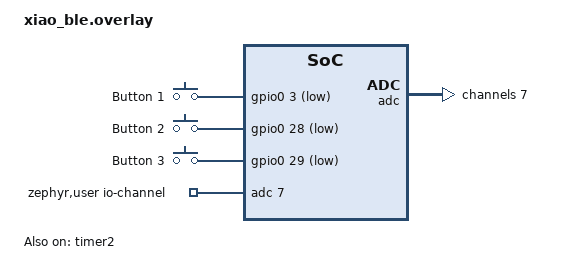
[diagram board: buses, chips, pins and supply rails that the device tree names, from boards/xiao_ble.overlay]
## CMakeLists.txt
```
cmake_minimum_required(VERSION 3.20.0)

find_package(Zephyr REQUIRED HINTS $ENV{ZEPHYR_BASE})
project(xiao_zigbee_button)

target_sources(app PRIVATE
    src/main.c
    src/buttons.c
    src/battery.c
    src/zigbee_actions.c
)
target_include_directories(app PRIVATE include)
```

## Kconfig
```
mainmenu "XIAO Zigbee Button"

config XIAO_ZIGBEE_DEBUG_LOGGING
	bool "Enable verbose application logging"
	default n
	help
		Enable UART console logging and verbose application logs for development.
		Leave disabled for production builds to reduce power consumption.

config XIAO_ZIGBEE_THREE_BUTTON
	bool "Build three-button firmware"
	default n
	help
		Build the D1/D2/D3 three-button variant with Zigbee endpoints 10,
		11, and 12. Leave disabled for the single-button variant, which
		uses endpoint 10 and model ID XIAO-Zigbee-Button.

source "Kconfig.zephyr"
```

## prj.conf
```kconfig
# Base configuration for the NCS 2.6.0 Zigbee button application.
CONFIG_NCS_SAMPLES_DEFAULTS=y
CONFIG_UART_INTERRUPT_DRIVEN=n
CONFIG_SERIAL=n
CONFIG_GPIO=y
CONFIG_ADC=y
CONFIG_CONSOLE=n
CONFIG_UART_CONSOLE=n
CONFIG_HEAP_MEM_POOL_SIZE=2048

CONFIG_ZIGBEE=y
CONFIG_ZIGBEE_APP_UTILS=y
CONFIG_ZIGBEE_ROLE_END_DEVICE=y
# Scan all Zigbee channels when joining a third-party coordinator such as Z2M.
CONFIG_ZIGBEE_CHANNEL_SELECTION_MODE_MULTI=y
CONFIG_DK_LIBRARY=y
CONFIG_SYSTEM_WORKQUEUE_STACK_SIZE=2048
CONFIG_RAM_POWER_DOWN_LIBRARY=y

CONFIG_NET_IPV6=n
CONFIG_NET_IP_ADDR_CHECK=n
CONFIG_NET_UDP=n

# XIAO nRF52840 Zigbee crypto/radio requirements.
CONFIG_CRYPTO=y
CONFIG_CRYPTO_NRF_ECB=y
CONFIG_CRYPTO_INIT_PRIORITY=80
CONFIG_MPSL=y
```

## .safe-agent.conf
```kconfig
EXTRA_DOCKER_MOUNTS=(
    "/opt/nordic:/opt/nordic:ro"
)
```

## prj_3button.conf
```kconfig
# Three-button production variant. Use BUTTON_VARIANT=3 ./scripts/build.sh
CONFIG_XIAO_ZIGBEE_THREE_BUTTON=y
```

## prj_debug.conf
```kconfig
# Development-only logging overlay. Use:
#   DEBUG_LOGGING=1 ./scripts/build.sh

CONFIG_XIAO_ZIGBEE_DEBUG_LOGGING=y
CONFIG_UART_INTERRUPT_DRIVEN=y
CONFIG_SERIAL=y
CONFIG_CONSOLE=y
CONFIG_UART_CONSOLE=y
```

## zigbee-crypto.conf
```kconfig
CONFIG_CRYPTO=y
CONFIG_CRYPTO_NRF_ECB=y
CONFIG_CRYPTO_INIT_PRIORITY=80
CONFIG_MPSL=y
```

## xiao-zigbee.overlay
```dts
/ {
    chosen {
        ncs,zigbee-timer = &timer2;
    };
};

&timer2 {
    status = "okay";
};
```

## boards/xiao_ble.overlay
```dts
#include <zephyr/dt-bindings/gpio/gpio.h>

/ {
    chosen {
        ncs,zigbee-timer = &timer2;
    };

    /* Buttons: XIAO D1/D2/D3, active low to GND. */

    buttons {
        compatible = "gpio-keys";

        button0: button_0 {
            gpios = <&gpio0 3 (GPIO_PULL_UP | GPIO_ACTIVE_LOW)>;
            label = "Button 1";
        };

        button1: button_1 {
            gpios = <&gpio0 28 (GPIO_PULL_UP | GPIO_ACTIVE_LOW)>;
            label = "Button 2";
        };

        button2: button_2 {
            gpios = <&gpio0 29 (GPIO_PULL_UP | GPIO_ACTIVE_LOW)>;
            label = "Button 3";
        };
    };

    aliases {
        sw0 = &button0;
        sw1 = &button1;
        sw2 = &button2;
    };

    zephyr,user {
        io-channels = <&adc 7>;
    };

};

&adc {
    #address-cells = <1>;
    #size-cells = <0>;

    channel@7 {
        reg = <7>;
        zephyr,gain = "ADC_GAIN_1_6";
        zephyr,reference = "ADC_REF_INTERNAL";
        zephyr,acquisition-time = <ADC_ACQ_TIME_DEFAULT>;
        zephyr,input-positive = <NRF_SAADC_AIN7>;
        zephyr,resolution = <12>;
        zephyr,oversampling = <4>;
    };
};

&timer2 {
    status = "okay";
};
```

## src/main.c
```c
#include <zephyr/kernel.h>
#include <zephyr/logging/log.h>
#include <ram_pwrdn.h>

#include <zboss_api.h>
#include <zboss_api_addons.h>
#include <zigbee/zigbee_app_utils.h>
#include <zigbee/zigbee_error_handler.h>
#include <zb_nrf_platform.h>

#include "buttons.h"
#include "battery.h"
#include "zb_button_remote.h"
#include "zb_mem_config_custom.h"
#include "zigbee_actions.h"
#include "app_logging.h"

#define ERASE_PERSISTENT_CONFIG ZB_FALSE
#define ZIGBEE_LONG_POLL_INTERVAL_MS (15U * 60U * 1000U)

LOG_MODULE_REGISTER(app, XIAO_ZIGBEE_LOG_LEVEL);

struct zb_device_ctx {
	zb_zcl_basic_attrs_ext_t basic_attr;
	zb_zcl_identify_attrs_t identify_attr;
};

static struct zb_device_ctx dev_ctx;
static zb_bool_t device_enable_basic_server_attr_list = ZB_TRUE;

ZB_ZCL_START_DECLARE_ATTRIB_LIST_CLUSTER_REVISION(
	basic_server_attr_list, ZB_ZCL_BASIC)
ZB_ZCL_SET_ATTR_DESC(ZB_ZCL_ATTR_BASIC_ZCL_VERSION_ID,
	&dev_ctx.basic_attr.zcl_version)
ZB_ZCL_SET_ATTR_DESC(ZB_ZCL_ATTR_BASIC_APPLICATION_VERSION_ID,
	&dev_ctx.basic_attr.app_version)
ZB_ZCL_SET_ATTR_DESC(ZB_ZCL_ATTR_BASIC_STACK_VERSION_ID,
	&dev_ctx.basic_attr.stack_version)
ZB_ZCL_SET_ATTR_DESC(ZB_ZCL_ATTR_BASIC_HW_VERSION_ID,
	&dev_ctx.basic_attr.hw_version)
ZB_ZCL_SET_ATTR_DESC(ZB_ZCL_ATTR_BASIC_MANUFACTURER_NAME_ID,
	dev_ctx.basic_attr.mf_name)
ZB_ZCL_SET_ATTR_DESC(ZB_ZCL_ATTR_BASIC_MODEL_IDENTIFIER_ID,
	dev_ctx.basic_attr.model_id)
ZB_ZCL_SET_ATTR_DESC(ZB_ZCL_ATTR_BASIC_DATE_CODE_ID,
	dev_ctx.basic_attr.date_code)
ZB_ZCL_SET_ATTR_DESC(ZB_ZCL_ATTR_BASIC_POWER_SOURCE_ID,
	&dev_ctx.basic_attr.power_source)
ZB_ZCL_SET_ATTR_DESC(ZB_ZCL_ATTR_BASIC_SW_BUILD_ID,
	dev_ctx.basic_attr.sw_ver)
ZB_ZCL_SET_ATTR_DESC(ZB_ZCL_ATTR_BASIC_DEVICE_ENABLED_ID,
	&device_enable_basic_server_attr_list)
ZB_ZCL_SET_ATTR_DESC(ZB_ZCL_ATTR_BASIC_LOCATION_DESCRIPTION_ID,
	dev_ctx.basic_attr.location_id)
ZB_ZCL_SET_ATTR_DESC(ZB_ZCL_ATTR_BASIC_PHYSICAL_ENVIRONMENT_ID,
	&dev_ctx.basic_attr.ph_env)
{
	BUTTON_REMOTE_EXACT_VOLTAGE_ATTR_ID,
	ZB_ZCL_ATTR_TYPE_U16,
	ZB_ZCL_ATTR_ACCESS_READ_ONLY | ZB_ZCL_ATTR_ACCESS_REPORTING,
	ZB_ZCL_NON_MANUFACTURER_SPECIFIC,
	(void *)&battery_voltage_exact_attr
},
ZB_ZCL_FINISH_DECLARE_ATTRIB_LIST;

ZB_ZCL_DECLARE_IDENTIFY_SERVER_ATTRIB_LIST(
	identify_server_attr_list,
	&dev_ctx.identify_attr.identify_time);

ZB_DECLARE_BUTTON_REMOTE_CLUSTER_LIST(
	button_remote_clusters,
	basic_server_attr_list,
	identify_server_attr_list,
	battery_power_config_attr_list);

static zb_zcl_reporting_info_t button_remote_reporting_info[
	BUTTON_REMOTE_REPORTING_SLOT_COUNT];

ZB_DECLARE_BUTTON_REMOTE_EP(button_remote_ep, button_remote_clusters);
#if CONFIG_XIAO_ZIGBEE_THREE_BUTTON
ZB_DECLARE_BUTTON_REMOTE_BUTTON_CLUSTER_LIST(
	button_remote_button_clusters,
	basic_server_attr_list,
	identify_server_attr_list,
	battery_power_config_attr_list);
ZB_DECLARE_BUTTON_REMOTE_BUTTON_EP(button_remote_ep_2,
	BUTTON_REMOTE_BUTTON_2_ENDPOINT, button_remote_button_clusters);
ZB_DECLARE_BUTTON_REMOTE_BUTTON_EP(button_remote_ep_3,
	BUTTON_REMOTE_BUTTON_3_ENDPOINT, button_remote_button_clusters);
ZBOSS_DECLARE_DEVICE_CTX_3_EP(button_remote_ctx, button_remote_ep,
	button_remote_ep_2, button_remote_ep_3);
#else
ZBOSS_DECLARE_DEVICE_CTX_1_EP(button_remote_ctx, button_remote_ep);
#endif

static void app_clusters_attr_init(void)
{
	dev_ctx.basic_attr.zcl_version = ZB_ZCL_VERSION;
	dev_ctx.basic_attr.app_version = 1;
	dev_ctx.basic_attr.stack_version = 1;
	dev_ctx.basic_attr.hw_version = 1;
	dev_ctx.basic_attr.date_code[0] = 0;
	dev_ctx.basic_attr.location_id[0] = 0;
	ZB_ZCL_SET_STRING_VAL(dev_ctx.basic_attr.mf_name,
		"Broskie Applications", ZB_ZCL_STRING_CONST_SIZE("Broskie Applications"));
#if CONFIG_XIAO_ZIGBEE_THREE_BUTTON
	ZB_ZCL_SET_STRING_VAL(dev_ctx.basic_attr.model_id,
		"XIAO-Zigbee-3Button",
		ZB_ZCL_STRING_CONST_SIZE("XIAO-Zigbee-3Button"));
#else
	ZB_ZCL_SET_STRING_VAL(dev_ctx.basic_attr.model_id,
		"XIAO-Zigbee-Button",
		ZB_ZCL_STRING_CONST_SIZE("XIAO-Zigbee-Button"));
#endif
	ZB_ZCL_SET_STRING_VAL(dev_ctx.basic_attr.sw_ver,
		"1", ZB_ZCL_STRING_CONST_SIZE("1"));
	dev_ctx.basic_attr.power_source = ZB_ZCL_BASIC_POWER_SOURCE_BATTERY;
	dev_ctx.identify_attr.identify_time =
		ZB_ZCL_IDENTIFY_IDENTIFY_TIME_DEFAULT_VALUE;
}

void zboss_signal_handler(zb_bufid_t bufid)
{
	zb_zdo_app_signal_hdr_t *sig_hndler = NULL;
	zb_zdo_app_signal_type_t sig = zb_get_app_signal(bufid, &sig_hndler);
	zb_ret_t status = ZB_GET_APP_SIGNAL_STATUS(bufid);

	if ((sig == ZB_BDB_SIGNAL_DEVICE_REBOOT || sig == ZB_BDB_SIGNAL_STEERING) &&
	    status == RET_OK) {
		LOG_INF("Zigbee joined; starting battery measurement");
		/* Reduce idle polling while retaining responsive button wake-up. */
		zb_zdo_pim_set_long_poll_interval(ZIGBEE_LONG_POLL_INTERVAL_MS);
		battery_start();
	}

	ZB_ERROR_CHECK(zigbee_default_signal_handler(bufid));

	if (bufid) {
		zb_buf_free(bufid);
	}
}

int main(void)
{
	int err;

	LOG_INF("Starting XIAO Zigbee button");

	err = buttons_init(zigbee_actions_handle);
	if (err) {
		LOG_ERR("Button initialization failed: %d", err);
		return err;
	}

	err = battery_init();
	if (err) {
		LOG_ERR("Battery initialization failed: %d", err);
		return err;
	}

	zigbee_erase_persistent_storage(ERASE_PERSISTENT_CONFIG);
	zb_set_ed_timeout(ED_AGING_TIMEOUT_64MIN);
	zb_set_keepalive_timeout(
		ZB_MILLISECONDS_TO_BEACON_INTERVAL(ZIGBEE_LONG_POLL_INTERVAL_MS));

	ZB_AF_REGISTER_DEVICE_CTX(&button_remote_ctx);
	app_clusters_attr_init();

	/* Operate as a sleepy end device; ZBOSS will sleep when the stack is idle. */
	zigbee_configure_sleepy_behavior(true);

	/* Start the Zigbee thread; commissioning and rejoin are handled by ZBOSS. */
	zigbee_enable();

	if (IS_ENABLED(CONFIG_RAM_POWER_DOWN_LIBRARY)) {
		power_down_unused_ram();
	}

	LOG_INF("XIAO Zigbee button started");
	return 0;
}
```

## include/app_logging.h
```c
#ifndef XIAO_APP_LOGGING_H
#define XIAO_APP_LOGGING_H

#include <zephyr/logging/log.h>

#if defined(CONFIG_XIAO_ZIGBEE_DEBUG_LOGGING) && CONFIG_XIAO_ZIGBEE_DEBUG_LOGGING
#define XIAO_ZIGBEE_LOG_LEVEL LOG_LEVEL_DBG
#else
#define XIAO_ZIGBEE_LOG_LEVEL LOG_LEVEL_NONE
#endif

#endif /* XIAO_APP_LOGGING_H */
```

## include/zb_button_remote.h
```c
#ifndef ZB_BUTTON_REMOTE_H
#define ZB_BUTTON_REMOTE_H

/* Endpoint and command destination used by the current Zigbee2MQTT setup. */
#define BUTTON_REMOTE_ENDPOINT 10
#define BUTTON_REMOTE_BUTTON_2_ENDPOINT 11
#define BUTTON_REMOTE_BUTTON_3_ENDPOINT 12
#define BUTTON_REMOTE_COORDINATOR 0x0000
#define BUTTON_REMOTE_COORDINATOR_ENDPOINT 1
#define BUTTON_REMOTE_EXACT_VOLTAGE_ATTR_ID 0xFF01

#define BUTTON_REMOTE_IN_CLUSTER_NUM 3
#define BUTTON_REMOTE_OUT_CLUSTER_NUM 2
#define BUTTON_REMOTE_POWER_CONFIG_ATTR_COUNT 8
#define BUTTON_REMOTE_REPORTING_SLOT_COUNT 5
#define BUTTON_REMOTE_BUTTON_IN_CLUSTER_NUM 3
#define BUTTON_REMOTE_BUTTON_OUT_CLUSTER_NUM 2

#define ZB_DECLARE_BUTTON_REMOTE_CLUSTER_LIST( \
		cluster_list_name, basic_attr_list, identify_attr_list, power_config_attr_list) \
zb_zcl_cluster_desc_t cluster_list_name[] = { \
	ZB_ZCL_CLUSTER_DESC( \
		ZB_ZCL_CLUSTER_ID_BASIC, \
		ZB_ZCL_ARRAY_SIZE(basic_attr_list, zb_zcl_attr_t), \
		(basic_attr_list), \
		ZB_ZCL_CLUSTER_SERVER_ROLE, \
		ZB_ZCL_MANUF_CODE_INVALID), \
	ZB_ZCL_CLUSTER_DESC( \
		ZB_ZCL_CLUSTER_ID_IDENTIFY, \
		ZB_ZCL_ARRAY_SIZE(identify_attr_list, zb_zcl_attr_t), \
		(identify_attr_list), \
		ZB_ZCL_CLUSTER_SERVER_ROLE, \
		ZB_ZCL_MANUF_CODE_INVALID), \
	ZB_ZCL_CLUSTER_DESC( \
		ZB_ZCL_CLUSTER_ID_POWER_CONFIG, \
		BUTTON_REMOTE_POWER_CONFIG_ATTR_COUNT, \
		(power_config_attr_list), \
		ZB_ZCL_CLUSTER_SERVER_ROLE, \
		ZB_ZCL_MANUF_CODE_INVALID), \
	ZB_ZCL_CLUSTER_DESC( \
		ZB_ZCL_CLUSTER_ID_ON_OFF, \
		0, NULL, \
		ZB_ZCL_CLUSTER_CLIENT_ROLE, \
		ZB_ZCL_MANUF_CODE_INVALID), \
	ZB_ZCL_CLUSTER_DESC( \
		ZB_ZCL_CLUSTER_ID_LEVEL_CONTROL, \
		0, NULL, \
		ZB_ZCL_CLUSTER_CLIENT_ROLE, \
		ZB_ZCL_MANUF_CODE_INVALID) \
}

#define ZB_DECLARE_BUTTON_REMOTE_EP(ep_name, cluster_list) \
	ZB_DECLARE_SIMPLE_DESC(3, 2); \
	ZB_AF_SIMPLE_DESC_TYPE(3, 2) simple_desc_##ep_name = { \
		BUTTON_REMOTE_ENDPOINT, \
		ZB_AF_HA_PROFILE_ID, \
		0x0009, \
		0, \
		0, \
		BUTTON_REMOTE_IN_CLUSTER_NUM, \
		BUTTON_REMOTE_OUT_CLUSTER_NUM, \
		{ ZB_ZCL_CLUSTER_ID_BASIC, ZB_ZCL_CLUSTER_ID_IDENTIFY, \
		  ZB_ZCL_CLUSTER_ID_POWER_CONFIG, \
		  ZB_ZCL_CLUSTER_ID_ON_OFF, ZB_ZCL_CLUSTER_ID_LEVEL_CONTROL } \
	}; \
	ZB_AF_DECLARE_ENDPOINT_DESC(ep_name, BUTTON_REMOTE_ENDPOINT, \
		ZB_AF_HA_PROFILE_ID, 0, NULL, \
		ZB_ZCL_ARRAY_SIZE(cluster_list, zb_zcl_cluster_desc_t), \
		cluster_list, (zb_af_simple_desc_1_1_t *)&simple_desc_##ep_name, \
		BUTTON_REMOTE_REPORTING_SLOT_COUNT, button_remote_reporting_info, \
		0, NULL)

#define ZB_DECLARE_BUTTON_REMOTE_BUTTON_CLUSTER_LIST( \
		cluster_list_name, basic_attr_list, identify_attr_list, power_config_attr_list) \
zb_zcl_cluster_desc_t cluster_list_name[] = { \
	ZB_ZCL_CLUSTER_DESC( \
		ZB_ZCL_CLUSTER_ID_BASIC, \
		ZB_ZCL_ARRAY_SIZE(basic_attr_list, zb_zcl_attr_t), \
		(basic_attr_list), \
		ZB_ZCL_CLUSTER_SERVER_ROLE, \
		ZB_ZCL_MANUF_CODE_INVALID), \
	ZB_ZCL_CLUSTER_DESC( \
		ZB_ZCL_CLUSTER_ID_IDENTIFY, \
		ZB_ZCL_ARRAY_SIZE(identify_attr_list, zb_zcl_attr_t), \
		(identify_attr_list), \
		ZB_ZCL_CLUSTER_SERVER_ROLE, \
		ZB_ZCL_MANUF_CODE_INVALID), \
	ZB_ZCL_CLUSTER_DESC( \
		ZB_ZCL_CLUSTER_ID_POWER_CONFIG, \
		BUTTON_REMOTE_POWER_CONFIG_ATTR_COUNT, \
		(power_config_attr_list), \
		ZB_ZCL_CLUSTER_SERVER_ROLE, \
		ZB_ZCL_MANUF_CODE_INVALID), \
	ZB_ZCL_CLUSTER_DESC( \
		ZB_ZCL_CLUSTER_ID_ON_OFF, \
		0, NULL, \
		ZB_ZCL_CLUSTER_CLIENT_ROLE, \
		ZB_ZCL_MANUF_CODE_INVALID), \
	ZB_ZCL_CLUSTER_DESC( \
		ZB_ZCL_CLUSTER_ID_LEVEL_CONTROL, \
		0, NULL, \
		ZB_ZCL_CLUSTER_CLIENT_ROLE, \
		ZB_ZCL_MANUF_CODE_INVALID) \
}

#define ZB_DECLARE_BUTTON_REMOTE_BUTTON_EP(ep_name, endpoint_id, cluster_list) \
	ZB_AF_SIMPLE_DESC_TYPE(BUTTON_REMOTE_BUTTON_IN_CLUSTER_NUM, \
		BUTTON_REMOTE_BUTTON_OUT_CLUSTER_NUM) simple_desc_##ep_name = { \
		(endpoint_id), \
		ZB_AF_HA_PROFILE_ID, \
		0x0009, \
		0, \
		0, \
		BUTTON_REMOTE_BUTTON_IN_CLUSTER_NUM, \
		BUTTON_REMOTE_BUTTON_OUT_CLUSTER_NUM, \
		{ ZB_ZCL_CLUSTER_ID_BASIC, ZB_ZCL_CLUSTER_ID_IDENTIFY, \
		  ZB_ZCL_CLUSTER_ID_POWER_CONFIG, ZB_ZCL_CLUSTER_ID_ON_OFF, \
		  ZB_ZCL_CLUSTER_ID_LEVEL_CONTROL } \
	}; \
	ZB_AF_DECLARE_ENDPOINT_DESC(ep_name, (endpoint_id), \
		ZB_AF_HA_PROFILE_ID, 0, NULL, \
		ZB_ZCL_ARRAY_SIZE(cluster_list, zb_zcl_cluster_desc_t), \
		(cluster_list), (zb_af_simple_desc_1_1_t *)&simple_desc_##ep_name, \
		0, NULL, 0, NULL)

#endif /* ZB_BUTTON_REMOTE_H */
```

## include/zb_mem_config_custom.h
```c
#ifndef ZB_MEM_CONFIG_CUSTOM_H
#define ZB_MEM_CONFIG_CUSTOM_H 1


#define ZB_CONFIG_ROLE_ZED
#define ZB_CONFIG_OVERALL_NETWORK_SIZE 16

/**
 * Light routing and application traffic from/to that device.
 */
#define ZB_CONFIG_LIGHT_TRAFFIC

/**
 * Simple user's application at that device: not too many relations
 * to other devices.
 */
#define ZB_CONFIG_APPLICATION_SIMPLE

/**
 * The below section is for advanced users.
 * Before modifying any values, please make sure you fully understand the
 * impact, for example by reading zb_mem_config_common.h
 */
#include "zb_mem_config_common.h"

/**
 * Now if you REALLY know what you do, you can study zb_mem_config_common.h
 * and redefine some configuration parameters, like:
 */
#if defined(CONFIG_LIGHT_SWITCH_CONFIGURE_TX_POWER) && \
	defined(CONFIG_ZIGBEE_CHANNEL_SELECTION_MODE_MULTI)
#undef ZB_CONFIG_SCHEDULER_Q_SIZE
#define ZB_CONFIG_SCHEDULER_Q_SIZE 28
#undef ZB_CONFIG_IOBUF_POOL_SIZE
#define ZB_CONFIG_IOBUF_POOL_SIZE 42
#else
#undef ZB_CONFIG_SCHEDULER_Q_SIZE
#define ZB_CONFIG_SCHEDULER_Q_SIZE 24
#endif /* CONFIG_LIGHT_SWITCH_CONFIGURE_TX_POWER && CONFIG_ZIGBEE_CHANNEL_SELECTION_MODE_MULTI */

/**
 * Increase OTA transfer time by extending the APS duplicate rejection table.
 * This value must be less than the amount of possible APS counter values (256).
 */
#undef ZB_CONFIG_APS_DUPS_TABLE_SIZE
#define ZB_CONFIG_APS_DUPS_TABLE_SIZE 64

/* Memory context definitions. */
#include "zb_mem_config_context.h"

#endif /* ZB_MEM_CONFIG_CUSTOM_H */
```

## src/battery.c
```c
#include <errno.h>
#include <stdint.h>

#include <zephyr/devicetree.h>
#include <zephyr/device.h>
#include <zephyr/drivers/adc.h>
#include <zephyr/drivers/gpio.h>
#include <zephyr/kernel.h>
#include <zephyr/logging/log.h>

#include <zboss_api.h>
#include <zboss_api_addons.h>

#include "battery.h"
#include "zb_button_remote.h"
#include "app_logging.h"

#define BATTERY_SAMPLE_INTERVAL      K_HOURS(6)
#define BATTERY_DIVIDER_TOP_OHMS     1000U
#define BATTERY_DIVIDER_BOTTOM_OHMS  510U
#define BATTERY_SAMPLE_COUNT         8U
#define BATTERY_ENABLE_PIN           14

LOG_MODULE_REGISTER(battery, XIAO_ZIGBEE_LOG_LEVEL);

static const struct adc_dt_spec battery_adc =
	ADC_DT_SPEC_GET(DT_PATH(zephyr_user));
static const struct device *gpio0 = DEVICE_DT_GET(DT_NODELABEL(gpio0));
static struct k_work_delayable battery_work;

static zb_uint8_t battery_voltage_attr =
	ZB_ZCL_POWER_CONFIG_BATTERY_VOLTAGE_INVALID;
zb_uint16_t battery_voltage_exact_attr;
static zb_uint8_t battery_size_attr = 0xff;
static zb_uint8_t battery_quantity_attr = 1;
static zb_uint8_t battery_rated_voltage_attr = 42;
static zb_uint8_t battery_alarm_mask_attr = 0;
static zb_uint8_t battery_voltage_min_threshold_attr = 0;
static zb_uint8_t battery_percentage_attr =
	ZB_ZCL_POWER_CONFIG_BATTERY_REMAINING_UNKNOWN;

/* NCS 2.6.0's extended power-config macro omits the battery number argument. */
ZB_ZCL_START_DECLARE_ATTRIB_LIST_CLUSTER_REVISION(
	battery_power_config_attr_list, ZB_ZCL_POWER_CONFIG)
ZB_SET_ATTR_DESCR_WITH_ZB_ZCL_ATTR_POWER_CONFIG_BATTERY_VOLTAGE_ID(
	&battery_voltage_attr, ),
ZB_SET_ATTR_DESCR_WITH_ZB_ZCL_ATTR_POWER_CONFIG_BATTERY_SIZE_ID(
	&battery_size_attr, ),
ZB_SET_ATTR_DESCR_WITH_ZB_ZCL_ATTR_POWER_CONFIG_BATTERY_QUANTITY_ID(
	&battery_quantity_attr, ),
ZB_SET_ATTR_DESCR_WITH_ZB_ZCL_ATTR_POWER_CONFIG_BATTERY_RATED_VOLTAGE_ID(
	&battery_rated_voltage_attr, ),
ZB_SET_ATTR_DESCR_WITH_ZB_ZCL_ATTR_POWER_CONFIG_BATTERY_ALARM_MASK_ID(
	&battery_alarm_mask_attr, ),
ZB_SET_ATTR_DESCR_WITH_ZB_ZCL_ATTR_POWER_CONFIG_BATTERY_VOLTAGE_MIN_THRESHOLD_ID(
	&battery_voltage_min_threshold_attr, ),
ZB_SET_ATTR_DESCR_WITH_ZB_ZCL_ATTR_POWER_CONFIG_BATTERY_PERCENTAGE_REMAINING_ID(
	&battery_percentage_attr, ),
ZB_ZCL_FINISH_DECLARE_ATTRIB_LIST;

static zb_uint8_t voltage_to_percentage(uint32_t millivolts)
{
	static const uint16_t voltage_table[] = {
		3300, 3500, 3600, 3650, 3700, 3750,
		3800, 3850, 3900, 4000, 4100, 4200,
	};
	static const uint8_t percentage_table[] = {
		0, 5, 10, 15, 20, 30, 40, 50, 60, 75, 90, 100,
	};

	if (millivolts <= voltage_table[0]) {
		return 0;
	}
	if (millivolts >= voltage_table[ARRAY_SIZE(voltage_table) - 1]) {
		return 200;
	}

	for (size_t i = 1; i < ARRAY_SIZE(voltage_table); i++) {
		if (millivolts <= voltage_table[i]) {
			uint32_t low_mv = voltage_table[i - 1];
			uint32_t high_mv = voltage_table[i];
			uint32_t low_pct = percentage_table[i - 1];
			uint32_t high_pct = percentage_table[i];
			uint32_t percent = low_pct +
				((millivolts - low_mv) * (high_pct - low_pct)) /
				(high_mv - low_mv);

			return (zb_uint8_t)(percent * 2U);
		}
	}

	return 0;
}

static int read_battery(uint32_t *millivolts, int32_t *adc_millivolts)
{
	int16_t samples[BATTERY_SAMPLE_COUNT];
	struct adc_sequence sequence;
	struct adc_sequence_options options = {
		.extra_samplings = BATTERY_SAMPLE_COUNT - 1U,
	};
	int32_t sample_mv;
	int64_t total = 0;
	int err;

	sequence = (struct adc_sequence){
		.buffer = samples,
		.buffer_size = sizeof(samples),
		.options = &options,
	};
	adc_sequence_init_dt(&battery_adc, &sequence);

	err = adc_read_dt(&battery_adc, &sequence);
	if (err) {
		return err;
	}

	for (size_t i = 0; i < BATTERY_SAMPLE_COUNT; i++) {
		total += samples[i];
	}

	sample_mv = (int32_t)(total / BATTERY_SAMPLE_COUNT);
	err = adc_raw_to_millivolts_dt(&battery_adc, &sample_mv);
	if (err) {
		return err;
	}
	*adc_millivolts = sample_mv;

	*millivolts = (uint32_t)sample_mv * BATTERY_DIVIDER_TOP_OHMS /
		BATTERY_DIVIDER_BOTTOM_OHMS + (uint32_t)sample_mv;
	return 0;
}

static void battery_apply_zigbee(zb_bufid_t bufid)
{
	zb_zcl_status_t voltage_status;
	zb_zcl_status_t exact_voltage_status;
	zb_zcl_status_t percentage_status;

	ZVUNUSED(bufid);

	voltage_status = zb_zcl_set_attr_val(
		BUTTON_REMOTE_ENDPOINT, ZB_ZCL_CLUSTER_ID_POWER_CONFIG,
		ZB_ZCL_CLUSTER_SERVER_ROLE,
		ZB_ZCL_ATTR_POWER_CONFIG_BATTERY_VOLTAGE_ID,
		&battery_voltage_attr, ZB_FALSE);
	exact_voltage_status = zb_zcl_set_attr_val(
		BUTTON_REMOTE_ENDPOINT, ZB_ZCL_CLUSTER_ID_BASIC,
		ZB_ZCL_CLUSTER_SERVER_ROLE,
		BUTTON_REMOTE_EXACT_VOLTAGE_ATTR_ID,
		(zb_uint8_t *)&battery_voltage_exact_attr, ZB_FALSE);
	percentage_status = zb_zcl_set_attr_val(
		BUTTON_REMOTE_ENDPOINT, ZB_ZCL_CLUSTER_ID_POWER_CONFIG,
		ZB_ZCL_CLUSTER_SERVER_ROLE,
		ZB_ZCL_ATTR_POWER_CONFIG_BATTERY_PERCENTAGE_REMAINING_ID,
		&battery_percentage_attr, ZB_FALSE);

	LOG_INF("Battery ZCL update: voltage=%u (%u mV), status=%d; exact=%u mV, status=%d; percentage=%u (%u%%), status=%d",
		battery_voltage_attr, battery_voltage_attr * 100U, voltage_status,
		battery_voltage_exact_attr, exact_voltage_status,
		battery_percentage_attr, battery_percentage_attr / 2U,
		percentage_status);

	if (voltage_status != RET_OK) {
		LOG_ERR("Failed to update battery voltage attribute: %d", voltage_status);
	}
	if (exact_voltage_status != RET_OK) {
		LOG_ERR("Failed to update exact battery voltage attribute: %d",
			exact_voltage_status);
	}
	if (percentage_status != RET_OK) {
		LOG_ERR("Failed to update battery percentage attribute: %d", percentage_status);
	}
}

static void battery_work_fn(struct k_work *work)
{
	uint32_t millivolts;
	int32_t adc_millivolts;
	int err;

	ARG_UNUSED(work);

	err = read_battery(&millivolts, &adc_millivolts);
	if (err) {
		LOG_ERR("Battery ADC read failed: %d", err);
	} else {
		battery_voltage_attr = (zb_uint8_t)((millivolts + 50U) / 100U);
		battery_voltage_exact_attr = (zb_uint16_t)millivolts;
		battery_percentage_attr = voltage_to_percentage(millivolts);
		LOG_INF("Battery: %u mV (ADC: %d mV, %u%%)", millivolts,
			adc_millivolts,
			battery_percentage_attr / 2U);
		ZB_SCHEDULE_APP_CALLBACK(battery_apply_zigbee, 0);
	}

	k_work_reschedule(&battery_work, BATTERY_SAMPLE_INTERVAL);
}

int battery_init(void)
{
	int err;

	if (!adc_is_ready_dt(&battery_adc)) {
		return -ENODEV;
	}
	if (!device_is_ready(gpio0)) {
		return -ENODEV;
	}
	err = adc_channel_setup_dt(&battery_adc);
	if (err) {
		return err;
	}

	/* P0.14 low enables the XIAO's battery-voltage divider. */
	err = gpio_pin_configure(gpio0, BATTERY_ENABLE_PIN, GPIO_OUTPUT_LOW);
	if (err) {
		return err;
	}

	k_work_init_delayable(&battery_work, battery_work_fn);
	return 0;
}

void battery_start(void)
{
	k_work_reschedule(&battery_work, K_NO_WAIT);
}
```

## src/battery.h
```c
#ifndef XIAO_BATTERY_H
#define XIAO_BATTERY_H

#include <zboss_api.h>

extern zb_zcl_attr_t battery_power_config_attr_list[];
extern zb_uint16_t battery_voltage_exact_attr;

int battery_init(void);
void battery_start(void);

#endif /* XIAO_BATTERY_H */
```

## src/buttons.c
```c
#include <stddef.h>

#include <zephyr/kernel.h>
#include <zephyr/logging/log.h>
#include <dk_buttons_and_leds.h>

#include <zigbee/zigbee_app_utils.h>

#include "buttons.h"
#include "app_logging.h"

/* Tune these values after testing the physical switches and enclosure. */
#if CONFIG_XIAO_ZIGBEE_THREE_BUTTON
#define BUTTON_COUNT                3U
#else
#define BUTTON_COUNT                1U
#endif
#define BUTTON_DEBOUNCE_MS          30
#define DOUBLE_PRESS_WINDOW_MS      350
#define HOLD_TIME_MS                600

LOG_MODULE_REGISTER(buttons, XIAO_ZIGBEE_LOG_LEVEL);

struct button_context {
	uint32_t mask;
	struct k_work_delayable single_press_work;
	struct k_work_delayable hold_work;
	bool pressed;
	bool hold_triggered;
	uint8_t click_count;
	int64_t last_transition_ms;
};

static button_action_handler_t action_handler;
static struct button_context button_contexts[BUTTON_COUNT] = {
	[BUTTON_ID_1] = {.mask = DK_BTN1_MSK,
		.last_transition_ms = -BUTTON_DEBOUNCE_MS},
#if CONFIG_XIAO_ZIGBEE_THREE_BUTTON
	[BUTTON_ID_2] = {.mask = DK_BTN2_MSK,
		.last_transition_ms = -BUTTON_DEBOUNCE_MS},
	[BUTTON_ID_3] = {.mask = DK_BTN3_MSK,
		.last_transition_ms = -BUTTON_DEBOUNCE_MS},
#endif
};

static void emit_action(struct button_context *context,
				enum button_action action)
{
	if (action_handler != NULL) {
		action_handler((enum button_id)(context - button_contexts), action);
	}
}

static void single_press_work_fn(struct k_work *work)
{
	struct button_context *context = CONTAINER_OF(
		k_work_delayable_from_work(work), struct button_context,
		single_press_work);

	if (context->click_count == 1U) {
		context->click_count = 0U;
		emit_action(context, BUTTON_ACTION_SINGLE);
	}
}

static void hold_work_fn(struct k_work *work)
{
	struct button_context *context = CONTAINER_OF(
		k_work_delayable_from_work(work), struct button_context,
		hold_work);

	if (context->pressed && !context->hold_triggered) {
		context->hold_triggered = true;
		context->click_count = 0U;
		(void)k_work_cancel_delayable(&context->single_press_work);
		emit_action(context, BUTTON_ACTION_HOLD);
	}
}

static void button_changed(uint32_t button_state, uint32_t has_changed)
{
	int64_t now = k_uptime_get();

	if ((has_changed & DK_ALL_BTNS_MSK) == 0U) {
		return;
	}

	/* Wake/notify the Zigbee stack immediately on physical button activity. */
	user_input_indicate();

	for (size_t i = 0; i < BUTTON_COUNT; i++) {
		struct button_context *context = &button_contexts[i];
		bool pressed;

		if ((has_changed & context->mask) == 0U) {
			continue;
		}
		if ((now - context->last_transition_ms) < BUTTON_DEBOUNCE_MS) {
			continue;
		}
		context->last_transition_ms = now;

		pressed = (button_state & context->mask) != 0U;
		if (pressed == context->pressed) {
			continue;
		}
		context->pressed = pressed;

		if (context->pressed) {
			k_work_reschedule(&context->hold_work, K_MSEC(HOLD_TIME_MS));
			continue;
		}

		(void)k_work_cancel_delayable(&context->hold_work);
		if (context->hold_triggered) {
			context->hold_triggered = false;
			context->click_count = 0U;
			(void)k_work_cancel_delayable(&context->single_press_work);
			emit_action(context, BUTTON_ACTION_RELEASE);
			continue;
		}

		if (context->click_count == 0U) {
			context->click_count = 1U;
			k_work_reschedule(&context->single_press_work,
					  K_MSEC(DOUBLE_PRESS_WINDOW_MS));
		} else {
			context->click_count = 0U;
			(void)k_work_cancel_delayable(&context->single_press_work);
			emit_action(context, BUTTON_ACTION_DOUBLE);
		}
	}
}

int buttons_init(button_action_handler_t handler)
{
	action_handler = handler;
	for (size_t i = 0; i < BUTTON_COUNT; i++) {
		k_work_init_delayable(&button_contexts[i].single_press_work,
				      single_press_work_fn);
		k_work_init_delayable(&button_contexts[i].hold_work,
				      hold_work_fn);
	}

	return dk_buttons_init(button_changed);
}
```

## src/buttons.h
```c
#ifndef XIAO_BUTTONS_H
#define XIAO_BUTTONS_H

enum button_action {
	BUTTON_ACTION_SINGLE,
	BUTTON_ACTION_DOUBLE,
	BUTTON_ACTION_HOLD,
	BUTTON_ACTION_RELEASE,
};

enum button_id {
	BUTTON_ID_1,
	BUTTON_ID_2,
	BUTTON_ID_3,
};

typedef void (*button_action_handler_t)(enum button_id button,
						 enum button_action action);

int buttons_init(button_action_handler_t handler);

#endif /* XIAO_BUTTONS_H */
```

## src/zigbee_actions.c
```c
#include <zephyr/logging/log.h>

#include <zboss_api.h>
#include <zboss_api_addons.h>

#include "zigbee_actions.h"
#include "zb_button_remote.h"
#include "app_logging.h"

LOG_MODULE_REGISTER(zigbee_actions, XIAO_ZIGBEE_LOG_LEVEL);

static zb_uint16_t coordinator_address = BUTTON_REMOTE_COORDINATOR;

static void send_toggle(zb_bufid_t bufid, zb_uint16_t source_endpoint)
{
	ZB_ZCL_ON_OFF_SEND_REQ(bufid,
		coordinator_address,
		ZB_APS_ADDR_MODE_16_ENDP_PRESENT,
		BUTTON_REMOTE_COORDINATOR_ENDPOINT,
		source_endpoint,
		ZB_AF_HA_PROFILE_ID,
		ZB_ZCL_DISABLE_DEFAULT_RESPONSE,
		ZB_ZCL_CMD_ON_OFF_TOGGLE_ID,
		NULL);
}

static void send_on(zb_bufid_t bufid, zb_uint16_t source_endpoint)
{
	ZB_ZCL_ON_OFF_SEND_REQ(bufid,
		coordinator_address,
		ZB_APS_ADDR_MODE_16_ENDP_PRESENT,
		BUTTON_REMOTE_COORDINATOR_ENDPOINT,
		source_endpoint,
		ZB_AF_HA_PROFILE_ID,
		ZB_ZCL_DISABLE_DEFAULT_RESPONSE,
		ZB_ZCL_CMD_ON_OFF_ON_ID,
		NULL);
}

static void send_hold(zb_bufid_t bufid, zb_uint16_t source_endpoint)
{
	ZB_ZCL_LEVEL_CONTROL_SEND_MOVE_REQ(bufid,
		coordinator_address,
		ZB_APS_ADDR_MODE_16_ENDP_PRESENT,
		BUTTON_REMOTE_COORDINATOR_ENDPOINT,
		source_endpoint,
		ZB_AF_HA_PROFILE_ID,
		ZB_ZCL_DISABLE_DEFAULT_RESPONSE,
		NULL,
		0,
		50);
}

static void send_release(zb_bufid_t bufid, zb_uint16_t source_endpoint)
{
	ZB_ZCL_LEVEL_CONTROL_SEND_STOP_REQ(bufid,
		coordinator_address,
		ZB_APS_ADDR_MODE_16_ENDP_PRESENT,
		BUTTON_REMOTE_COORDINATOR_ENDPOINT,
		source_endpoint,
		ZB_AF_HA_PROFILE_ID,
		ZB_ZCL_DISABLE_DEFAULT_RESPONSE,
		NULL);
}

static void schedule_command(zb_callback2_t callback, zb_uint16_t source_endpoint)
{
	zb_ret_t err = zb_buf_get_out_delayed_ext(callback, source_endpoint, 0);

	if (err != RET_OK) {
		LOG_ERR("Unable to schedule Zigbee action: %d", err);
	}
}

void zigbee_actions_handle(enum button_id button, enum button_action action)
{
	zb_uint16_t source_endpoint = BUTTON_REMOTE_ENDPOINT + button;
	const char *button_name = button == BUTTON_ID_1 ? "1" :
		button == BUTTON_ID_2 ? "2" : "3";

	if (!ZB_JOINED()) {
		LOG_WRN("Ignoring button action while Zigbee is not joined");
		return;
	}

	switch (action) {
	case BUTTON_ACTION_SINGLE:
		LOG_INF("Button %s action: SINGLE (Toggle)", button_name);
		schedule_command(send_toggle, source_endpoint);
		break;
	case BUTTON_ACTION_DOUBLE:
		LOG_INF("Button %s action: DOUBLE (On)", button_name);
		schedule_command(send_on, source_endpoint);
		break;
	case BUTTON_ACTION_HOLD:
		LOG_INF("Button %s action: HOLD (Move Up)", button_name);
		schedule_command(send_hold, source_endpoint);
		break;
	case BUTTON_ACTION_RELEASE:
		LOG_INF("Button %s action: RELEASE (Stop)", button_name);
		schedule_command(send_release, source_endpoint);
		break;
	default:
		LOG_WRN("Unknown button action: %d", action);
		break;
	}
}
```

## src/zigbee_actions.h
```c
#ifndef XIAO_ZIGBEE_ACTIONS_H
#define XIAO_ZIGBEE_ACTIONS_H

#include "buttons.h"

void zigbee_actions_handle(enum button_id button, enum button_action action);

#endif /* XIAO_ZIGBEE_ACTIONS_H */
```
